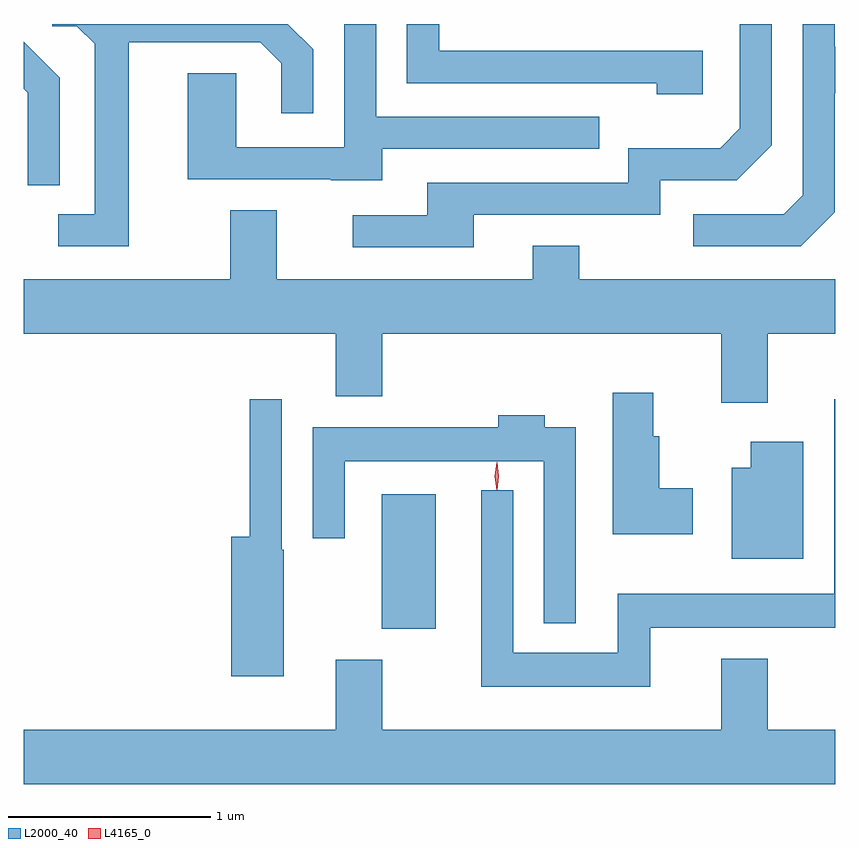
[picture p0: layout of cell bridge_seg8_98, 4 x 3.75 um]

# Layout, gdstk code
import gdstk
lib = gdstk.Library(unit=1e-6, precision=1e-09)
def R(c, l, rs):  # rectangles x0, y0, x1, y1
    for r in rs: c.add(gdstk.rectangle(r[:2], r[2:], *l))
def P(c, l, *ps):  # polygons
    for p in ps: c.add(gdstk.Polygon(p, *l))
L2000_40 = (2000, 40)
L4165_0 = (4165, 0)

bridge_seg8_98 = lib.new_cell('bridge_seg8_98')
R(bridge_seg8_98, L2000_40, [(1548.746,1812.761,1549.014,1813.424)])
P(bridge_seg8_98, L2000_40, [(1547.499,1815.651),(1548.149,1815.651),(1548.251,1815.549),(1548.251,1815.303),(1548.409,1815.303),(1548.409,1815.617),(1548.284,1815.742),(1547.123,1815.742),(1547.123,1815.731),(1547.244,1815.731),(1547.331,1815.644),(1547.331,1814.804),(1547.153,1814.804),(1547.153,1814.646),(1547.499,1814.646)],
  [(1550.979,1814.814),(1550.979,1815.401),(1550.982,1815.401),(1550.982,1815.629),(1550.979,1815.629),(1550.979,1815.742),(1550.821,1815.742),(1550.821,1814.897),(1550.729,1814.804),(1550.283,1814.804),(1550.283,1814.646),(1550.812,1814.646)],
  [(1549.199,1814.801),(1550.119,1814.801),(1550.119,1814.971),(1550.497,1814.971),(1550.669,1815.144),(1550.669,1815.742),(1550.511,1815.742),(1550.511,1815.227),(1550.414,1815.129),(1549.961,1815.129),(1549.961,1814.959),(1548.971,1814.959),(1548.971,1814.799),(1548.603,1814.799),(1548.603,1814.641),(1549.199,1814.641)],
  [(1548.749,1815.126),(1549.818,1815.126),(1549.818,1815.284),(1548.719,1815.284),(1548.719,1815.742),(1548.561,1815.742),(1548.561,1815.134),(1548.029,1815.134),(1548.029,1815.499),(1547.791,1815.499),(1547.791,1814.976),(1548.495,1814.976),(1548.495,1814.971),(1548.749,1814.971)],
  [(1550.329,1815.609),(1549.029,1815.609),(1549.029,1815.742),(1548.871,1815.742),(1548.871,1815.451),(1550.101,1815.451),(1550.101,1815.396),(1550.329,1815.396)],
  [(1547.159,1815.477),(1546.982,1815.654),(1546.982,1815.423),(1547.001,1815.404),(1547.001,1814.948),(1547.159,1814.948)],
  [(1550.649,1814.216),(1550.982,1814.216),(1550.982,1814.484),(1549.719,1814.484),(1549.719,1814.649),(1549.491,1814.649),(1549.491,1814.484),(1548.229,1814.484),(1548.229,1814.824),(1548.001,1814.824),(1548.001,1814.484),(1546.982,1814.484),(1546.982,1814.216),(1548.521,1814.216),(1548.521,1813.906),(1548.749,1813.906),(1548.749,1814.216),(1550.421,1814.216),(1550.421,1813.876),(1550.649,1813.876)],
  [(1550.279,1813.454),(1550.114,1813.454),(1550.114,1813.709),(1550.084,1813.709),(1550.084,1813.924),(1549.886,1813.924),(1549.886,1813.226),(1550.279,1813.226)],
  [(1550.069,1812.766),(1550.982,1812.766),(1550.982,1813.893),(1550.976,1813.893),(1550.976,1812.934),(1549.911,1812.934),(1549.911,1812.644),(1549.394,1812.644),(1549.394,1813.443),(1549.236,1813.443),(1549.236,1812.476),(1550.069,1812.476)],
  [(1548.264,1813.15),(1548.254,1813.15),(1548.254,1813.893),(1548.096,1813.893),(1548.096,1813.214),(1548.006,1813.214),(1548.006,1812.526),(1548.264,1812.526)],
  [(1549.704,1813.754),(1549.549,1813.754),(1549.549,1813.814),(1549.321,1813.814),(1549.321,1813.754),(1548.406,1813.754),(1548.406,1813.208),(1548.564,1813.208),(1548.564,1813.586),(1549.546,1813.586),(1549.546,1812.788),(1549.704,1812.788)],
  [(1550.824,1813.684),(1550.566,1813.684),(1550.566,1813.554),(1550.471,1813.554),(1550.471,1813.106),(1550.824,1813.106)],
  [(1550.982,1812.264),(1550.649,1812.264),(1550.649,1812.614),(1550.421,1812.614),(1550.421,1812.264),(1548.749,1812.264),(1548.749,1812.609),(1548.521,1812.609),(1548.521,1812.264),(1546.982,1812.264),(1546.982,1811.996),(1550.982,1811.996)])
P(bridge_seg8_98, L4165_0, [(1549.313,1813.447),(1549.304,1813.514),(1549.313,1813.58),(1549.314,1813.58),(1549.314,1813.58),(1549.324,1813.514),(1549.314,1813.447),(1549.314,1813.447)],
  [(1549.314,1813.444),(1549.314,1813.444),(1549.304,1813.513),(1549.314,1813.582),(1549.314,1813.583),(1549.315,1813.582),(1549.324,1813.513),(1549.315,1813.444)])

lib.write_gds('bridge_seg8_98.gds')
